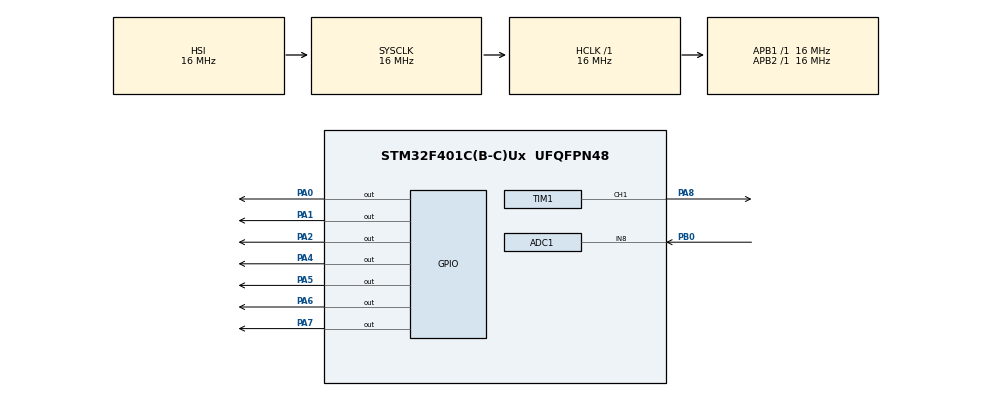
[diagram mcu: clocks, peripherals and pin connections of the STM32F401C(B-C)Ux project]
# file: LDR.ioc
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Mcu.Family=STM32F4
RCC.CortexFreq_Value=16000000
ADC1.Rank-0\#ChannelRegularConversion=1
ProjectManager.StackSize=0x400
PA0-WKUP.Signal=GPIO_Output
TIM1.Prescaler=15
SH.S_TIM1_CH1.0=TIM1_CH1,PWM Generation1 CH1
ProjectManager.TargetToolchain=MDK-ARM V5.27
RCC.LSE_VALUE=32768
PA1.Signal=GPIO_Output
RCC.AHBFreq_Value=16000000
PA5.Signal=GPIO_Output
ADC1.Channel-0\#ChannelRegularConversion=ADC_CHANNEL_8
RCC.HSE_VALUE=25000000
board=custom
RCC.VCOOutputFreq_Value=192000000
RCC.APB2Freq_Value=16000000
TIM1.Channel-PWM\ Generation1\ CH1=TIM_CHANNEL_1
SH.ADCx_IN8.0=ADC1_IN8,IN8
PA8.Signal=S_TIM1_CH1
Mcu.Name=STM32F401C(B-C)Ux
VP_TIM1_VS_ClockSourceINT.Mode=Internal
ADC1.SamplingTime-0\#ChannelRegularConversion=ADC_SAMPLETIME_3CYCLES
PA2.Signal=GPIO_Output
PA4.Signal=GPIO_Output
RCC.SYSCLKFreq_VALUE=16000000
Mcu.Package=UFQFPN48
PA6.Signal=GPIO_Output
ADC1.master=1
ProjectManager.HeapSize=0x200
RCC.HSI_VALUE=16000000
NVIC.PriorityGroup=NVIC_PRIORITYGROUP_4
ADC1.NbrOfConversionFlag=1
TIM1.Period=999
RCC.APB1Freq_Value=16000000
PB0.Signal=ADCx_IN8
PA7.Signal=GPIO_Output

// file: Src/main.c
/* USER CODE BEGIN Header */
/**
  ******************************************************************************
  * @file           : main.c
  * @brief          : Main program body
  ******************************************************************************
  * @attention
  *
  * <h2><center>&copy; Copyright (c) 2021 STMicroelectronics.
  * All rights reserved.</center></h2>
  *
  * This software component is licensed by ST under BSD 3-Clause license,
  * the "License"; You may not use this file except in compliance with the
  * License. You may obtain a copy of the License at:
  *                        opensource.org/licenses/BSD-3-Clause
  *
  ******************************************************************************
  */
/* USER CODE END Header */

#include "main.h"

/* USER CODE BEGIN Includes */
#include "stlcd.h"
#include "stdio.h"
/* USER CODE END Includes */

ADC_HandleTypeDef hadc1;

TIM_HandleTypeDef htim1;

/* USER CODE BEGIN PV */
int a,p;
char t[16];
/* USER CODE END PV */

void SystemClock_Config(void);
static void MX_GPIO_Init(void);
static void MX_ADC1_Init(void);
static void MX_TIM1_Init(void);

int main(void)
{

  /* MCU Configuration--------------------------------------------------------*/

  /* Reset of all peripherals, Initializes the Flash interface and the Systick. */
  HAL_Init();

  /* Configure the system clock */
  SystemClock_Config();

  /* Initialize all configured peripherals */
  MX_GPIO_Init();
  MX_ADC1_Init();
  MX_TIM1_Init();
  /* USER CODE BEGIN 2 */
   lcd_init();
	 lcd_puts("REZA");
	  HAL_TIM_PWM_Start(&htim1,TIM_CHANNEL_1);
  /* USER CODE END 2 */

  /* Infinite loop */
  while (1)
  {

    /* USER CODE BEGIN 3 */
		hadc1.Init.NbrOfConversion=1;
		HAL_ADC_Init(&hadc1);
		HAL_ADC_Start(&hadc1);
		if(HAL_ADC_PollForConversion(&hadc1,100)==HAL_OK)
		{
			a=HAL_ADC_GetValue(&hadc1);
			sprintf(t,"%04d",a);
			lcd_gotoxy(0,0);
			lcd_puts(t);
			p=-0.25*a+1013;
			__HAL_TIM_SetCompare(&htim1,TIM_CHANNEL_1,p);
		}
		HAL_Delay(200);
  }
  /* USER CODE END 3 */
}

void SystemClock_Config(void)
{
  RCC_OscInitTypeDef RCC_OscInitStruct = {0};
  RCC_ClkInitTypeDef RCC_ClkInitStruct = {0};

  /** Configure the main internal regulator output voltage
  */
  __HAL_RCC_PWR_CLK_ENABLE();
  __HAL_PWR_VOLTAGESCALING_CONFIG(PWR_REGULATOR_VOLTAGE_SCALE2);
  /** Initializes the CPU, AHB and APB busses clocks
  */
  RCC_OscInitStruct.OscillatorType = RCC_OSCILLATORTYPE_HSI;
  RCC_OscInitStruct.HSIState = RCC_HSI_ON;
  RCC_OscInitStruct.HSICalibrationValue = RCC_HSICALIBRATION_DEFAULT;
  RCC_OscInitStruct.PLL.PLLState = RCC_PLL_NONE;
  if (HAL_RCC_OscConfig(&RCC_OscInitStruct) != HAL_OK)
  {
    Error_Handler();
  }
  /** Initializes the CPU, AHB and APB busses clocks
  */
  RCC_ClkInitStruct.ClockType = RCC_CLOCKTYPE_HCLK|RCC_CLOCKTYPE_SYSCLK
                              |RCC_CLOCKTYPE_PCLK1|RCC_CLOCKTYPE_PCLK2;
  RCC_ClkInitStruct.SYSCLKSource = RCC_SYSCLKSOURCE_HSI;
  RCC_ClkInitStruct.AHBCLKDivider = RCC_SYSCLK_DIV1;
  RCC_ClkInitStruct.APB1CLKDivider = RCC_HCLK_DIV1;
  RCC_ClkInitStruct.APB2CLKDivider = RCC_HCLK_DIV1;

  if (HAL_RCC_ClockConfig(&RCC_ClkInitStruct, FLASH_LATENCY_0) != HAL_OK)
  {
    Error_Handler();
  }
}

static void MX_ADC1_Init(void)
{

  ADC_ChannelConfTypeDef sConfig = {0};

  /** Configure the global features of the ADC (Clock, Resolution, Data Alignment and number of conversion)
  */
  hadc1.Instance = ADC1;
  hadc1.Init.ClockPrescaler = ADC_CLOCK_SYNC_PCLK_DIV2;
  hadc1.Init.Resolution = ADC_RESOLUTION_12B;
  hadc1.Init.ScanConvMode = DISABLE;
  hadc1.Init.ContinuousConvMode = DISABLE;
  hadc1.Init.DiscontinuousConvMode = DISABLE;
  hadc1.Init.ExternalTrigConvEdge = ADC_EXTERNALTRIGCONVEDGE_NONE;
  hadc1.Init.ExternalTrigConv = ADC_SOFTWARE_START;
  hadc1.Init.DataAlign = ADC_DATAALIGN_RIGHT;
  hadc1.Init.NbrOfConversion = 1;
  hadc1.Init.DMAContinuousRequests = DISABLE;
  hadc1.Init.EOCSelection = ADC_EOC_SINGLE_CONV;
  if (HAL_ADC_Init(&hadc1) != HAL_OK)
  {
    Error_Handler();
  }
  /** Configure for the selected ADC regular channel its corresponding rank in the sequencer and its sample time.
  */
  sConfig.Channel = ADC_CHANNEL_8;
  sConfig.Rank = 1;
  sConfig.SamplingTime = ADC_SAMPLETIME_3CYCLES;
  if (HAL_ADC_ConfigChannel(&hadc1, &sConfig) != HAL_OK)
  {
    Error_Handler();
  }

}

static void MX_TIM1_Init(void)
{

  TIM_ClockConfigTypeDef sClockSourceConfig = {0};
  TIM_MasterConfigTypeDef sMasterConfig = {0};
  TIM_OC_InitTypeDef sConfigOC = {0};
  TIM_BreakDeadTimeConfigTypeDef sBreakDeadTimeConfig = {0};

  htim1.Instance = TIM1;
  htim1.Init.Prescaler = 15;
  htim1.Init.CounterMode = TIM_COUNTERMODE_UP;
  htim1.Init.Period = 999;
  htim1.Init.ClockDivision = TIM_CLOCKDIVISION_DIV1;
  htim1.Init.RepetitionCounter = 0;
  htim1.Init.AutoReloadPreload = TIM_AUTORELOAD_PRELOAD_DISABLE;
  if (HAL_TIM_Base_Init(&htim1) != HAL_OK)
  {
    Error_Handler();
  }
  sClockSourceConfig.ClockSource = TIM_CLOCKSOURCE_INTERNAL;
  if (HAL_TIM_ConfigClockSource(&htim1, &sClockSourceConfig) != HAL_OK)
  {
    Error_Handler();
  }
  if (HAL_TIM_PWM_Init(&htim1) != HAL_OK)
  {
    Error_Handler();
  }
  sMasterConfig.MasterOutputTrigger = TIM_TRGO_RESET;
  sMasterConfig.MasterSlaveMode = TIM_MASTERSLAVEMODE_DISABLE;
  if (HAL_TIMEx_MasterConfigSynchronization(&htim1, &sMasterConfig) != HAL_OK)
  {
    Error_Handler();
  }
  sConfigOC.OCMode = TIM_OCMODE_PWM1;
  sConfigOC.Pulse = 0;
  sConfigOC.OCPolarity = TIM_OCPOLARITY_HIGH;
  sConfigOC.OCNPolarity = TIM_OCNPOLARITY_HIGH;
  sConfigOC.OCFastMode = TIM_OCFAST_DISABLE;
  sConfigOC.OCIdleState = TIM_OCIDLESTATE_RESET;
  sConfigOC.OCNIdleState = TIM_OCNIDLESTATE_RESET;
  if (HAL_TIM_PWM_ConfigChannel(&htim1, &sConfigOC, TIM_CHANNEL_1) != HAL_OK)
  {
    Error_Handler();
  }
  sBreakDeadTimeConfig.OffStateRunMode = TIM_OSSR_DISABLE;
  sBreakDeadTimeConfig.OffStateIDLEMode = TIM_OSSI_DISABLE;
  sBreakDeadTimeConfig.LockLevel = TIM_LOCKLEVEL_OFF;
  sBreakDeadTimeConfig.DeadTime = 0;
  sBreakDeadTimeConfig.BreakState = TIM_BREAK_DISABLE;
  sBreakDeadTimeConfig.BreakPolarity = TIM_BREAKPOLARITY_HIGH;
  sBreakDeadTimeConfig.AutomaticOutput = TIM_AUTOMATICOUTPUT_DISABLE;
  if (HAL_TIMEx_ConfigBreakDeadTime(&htim1, &sBreakDeadTimeConfig) != HAL_OK)
  {
    Error_Handler();
  }
  HAL_TIM_MspPostInit(&htim1);

}

static void MX_GPIO_Init(void)
{
  GPIO_InitTypeDef GPIO_InitStruct = {0};

  /* GPIO Ports Clock Enable */
  __HAL_RCC_GPIOA_CLK_ENABLE();
  __HAL_RCC_GPIOB_CLK_ENABLE();

  /*Configure GPIO pin Output Level */
  HAL_GPIO_WritePin(GPIOA, GPIO_PIN_0|GPIO_PIN_1|GPIO_PIN_2|GPIO_PIN_4
                          |GPIO_PIN_5|GPIO_PIN_6|GPIO_PIN_7, GPIO_PIN_RESET);

  /*Configure GPIO pins : PA0 PA1 PA2 PA4
                           PA5 PA6 PA7 */
  GPIO_InitStruct.Pin = GPIO_PIN_0|GPIO_PIN_1|GPIO_PIN_2|GPIO_PIN_4
                          |GPIO_PIN_5|GPIO_PIN_6|GPIO_PIN_7;
  GPIO_InitStruct.Mode = GPIO_MODE_OUTPUT_PP;
  GPIO_InitStruct.Pull = GPIO_NOPULL;
  GPIO_InitStruct.Speed = GPIO_SPEED_FREQ_LOW;
  HAL_GPIO_Init(GPIOA, &GPIO_InitStruct);

}

void Error_Handler(void)
{
}

/************************ (C) COPYRIGHT STMicroelectronics *****END OF FILE****/
